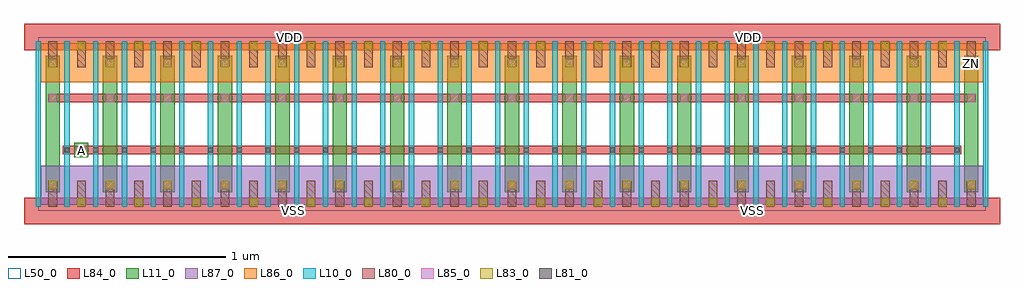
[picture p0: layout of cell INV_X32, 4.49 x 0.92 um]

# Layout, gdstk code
import gdstk
lib = gdstk.Library(unit=1e-6, precision=1e-09)
def R(c, l, rs):  # rectangles x0, y0, x1, y1
    for r in rs: c.add(gdstk.rectangle(r[:2], r[2:], *l))
def A(c, l, x, y, w, h, nx, ny, dx, dy):  # array of equal rectangles
    R(c, l, [(x+i*dx, y+j*dy, x+i*dx+w, y+j*dy+h) for i in range(nx) for j in range(ny)])
L10_0 = (10, 0)
L11_0 = (11, 0)
L50_0 = (50, 0)
L80_0 = (80, 0)
L81_0 = (81, 0)
L83_0 = (83, 0)
L84_0 = (84, 0)
L85_0 = (85, 0)
L86_0 = (86, 0)
L87_0 = (87, 0)

inv_x32 = lib.new_cell('INV_X32')
A(inv_x32, L10_0, -0.184, 0.133, 0.024, 0.76, 5, 1, 0.132, 0)
A(inv_x32, L10_0, 0.476, 0.133, 0.024, 0.76, 4, 1, 0.132, 0)
A(inv_x32, L10_0, 1.004, 0.133, 0.024, 0.76, 4, 1, 0.132, 0)
A(inv_x32, L10_0, 1.532, 0.133, 0.024, 0.76, 4, 1, 0.132, 0)
A(inv_x32, L10_0, 2.06, 0.133, 0.024, 0.76, 4, 1, 0.132, 0)
A(inv_x32, L10_0, 2.588, 0.133, 0.024, 0.76, 4, 1, 0.132, 0)
A(inv_x32, L10_0, 3.116, 0.133, 0.024, 0.76, 4, 1, 0.132, 0)
A(inv_x32, L10_0, 3.644, 0.133, 0.024, 0.76, 5, 1, 0.132, 0)
R(inv_x32, L10_0, [(0.344,0.133,0.368,0.893), (0.476,0.133,0.5,0.893), (0.872,0.133,0.896,0.893), (1.004,0.133,1.028,0.893), (1.4,0.133,1.424,0.893), (1.532,0.133,1.556,0.893), (1.928,0.133,1.952,0.893), (2.06,0.133,2.084,0.893), (2.456,0.133,2.48,0.893), (2.588,0.133,2.612,0.893), (2.984,0.133,3.008,0.893), (3.116,0.133,3.14,0.893), (3.512,0.133,3.536,0.893), (3.644,0.133,3.668,0.893)])
A(inv_x32, L11_0, -0.139, 0.2, 0.066, 0.626, 3, 1, 0.264, 0)
A(inv_x32, L11_0, 0.389, 0.2, 0.066, 0.626, 3, 1, 0.264, 0)
A(inv_x32, L11_0, 0.917, 0.2, 0.066, 0.626, 3, 1, 0.264, 0)
A(inv_x32, L11_0, 1.445, 0.2, 0.066, 0.626, 3, 1, 0.264, 0)
A(inv_x32, L11_0, 1.973, 0.2, 0.066, 0.626, 3, 1, 0.264, 0)
A(inv_x32, L11_0, 2.501, 0.2, 0.066, 0.626, 3, 1, 0.264, 0)
A(inv_x32, L11_0, 3.029, 0.2, 0.066, 0.626, 3, 1, 0.264, 0)
A(inv_x32, L11_0, 3.557, 0.2, 0.066, 0.626, 3, 1, 0.264, 0)
R(inv_x32, L11_0, [(-0.008,0.36,0.058,0.426)])
R(inv_x32, L50_0, [(-0.172,0.113,2.072,0.913), (1.94,0.113,4.184,0.913)])
A(inv_x32, L80_0, -0.126, 0.133, 0.04, 0.12, 5, 2, 0.132, 0.64)
A(inv_x32, L80_0, 0.402, 0.133, 0.04, 0.12, 5, 2, 0.132, 0.64)
A(inv_x32, L80_0, 0.93, 0.133, 0.04, 0.12, 5, 2, 0.132, 0.64)
A(inv_x32, L80_0, 1.458, 0.133, 0.04, 0.12, 5, 2, 0.132, 0.64)
A(inv_x32, L80_0, 1.986, 0.133, 0.04, 0.12, 5, 2, 0.132, 0.64)
A(inv_x32, L80_0, 2.514, 0.133, 0.04, 0.12, 5, 2, 0.132, 0.64)
A(inv_x32, L80_0, 3.042, 0.133, 0.04, 0.12, 5, 2, 0.132, 0.64)
A(inv_x32, L80_0, 3.57, 0.133, 0.04, 0.12, 5, 2, 0.132, 0.64)
A(inv_x32, L81_0, -0.051, 0.382, 0.022, 0.022, 32, 1, 0.132, 0)
A(inv_x32, L83_0, 0.008, 0.135, 0.036, 0.036, 16, 2, 0.264, 0.72)
A(inv_x32, L83_0, -0.124, 0.215, 0.036, 0.036, 3, 2, 0.264, 0.56)
A(inv_x32, L83_0, 0.404, 0.215, 0.036, 0.036, 3, 2, 0.264, 0.56)
A(inv_x32, L83_0, 0.932, 0.215, 0.036, 0.036, 3, 2, 0.264, 0.56)
A(inv_x32, L83_0, 1.46, 0.215, 0.036, 0.036, 3, 2, 0.264, 0.56)
A(inv_x32, L83_0, 1.988, 0.215, 0.036, 0.036, 3, 2, 0.264, 0.56)
A(inv_x32, L83_0, 2.516, 0.215, 0.036, 0.036, 3, 2, 0.264, 0.56)
A(inv_x32, L83_0, 3.044, 0.215, 0.036, 0.036, 3, 2, 0.264, 0.56)
A(inv_x32, L83_0, 3.572, 0.215, 0.036, 0.036, 3, 2, 0.264, 0.56)
A(inv_x32, L84_0, -0.238, 0.053, 0.792, 0.12, 8, 2, 0.528, 0.8)
A(inv_x32, L84_0, -0.126, 0.213, 0.04, 0.04, 3, 2, 0.264, 0.56)
A(inv_x32, L84_0, 0.402, 0.213, 0.04, 0.04, 3, 2, 0.264, 0.56)
A(inv_x32, L84_0, 0.93, 0.213, 0.04, 0.04, 3, 2, 0.264, 0.56)
A(inv_x32, L84_0, 1.458, 0.213, 0.04, 0.04, 3, 2, 0.264, 0.56)
A(inv_x32, L84_0, 1.986, 0.213, 0.04, 0.04, 3, 2, 0.264, 0.56)
A(inv_x32, L84_0, 2.514, 0.213, 0.04, 0.04, 3, 2, 0.264, 0.56)
A(inv_x32, L84_0, 3.042, 0.213, 0.04, 0.04, 3, 2, 0.264, 0.56)
A(inv_x32, L84_0, 3.57, 0.213, 0.04, 0.04, 3, 2, 0.264, 0.56)
A(inv_x32, L84_0, -0.06, 0.373, 0.37, 0.04, 4, 1, 1.056, 0)
A(inv_x32, L84_0, -0.126, 0.613, 0.568, 0.04, 8, 1, 0.528, 0)
R(inv_x32, L84_0, [(0.239,0.373,1.028,0.413), (1.295,0.373,2.237,0.413), (2.351,0.373,3.14,0.413), (3.407,0.373,4.072,0.413)])
A(inv_x32, L85_0, -0.125, 0.214, 0.038, 0.038, 3, 2, 0.264, 0.4)
A(inv_x32, L85_0, 0.403, 0.214, 0.038, 0.038, 3, 2, 0.264, 0.4)
A(inv_x32, L85_0, 0.931, 0.214, 0.038, 0.038, 3, 2, 0.264, 0.4)
A(inv_x32, L85_0, 1.459, 0.214, 0.038, 0.038, 3, 2, 0.264, 0.4)
A(inv_x32, L85_0, 1.987, 0.214, 0.038, 0.038, 3, 2, 0.264, 0.4)
A(inv_x32, L85_0, 2.515, 0.214, 0.038, 0.038, 3, 2, 0.264, 0.4)
A(inv_x32, L85_0, 3.043, 0.214, 0.038, 0.038, 3, 2, 0.264, 0.4)
A(inv_x32, L85_0, 3.571, 0.214, 0.038, 0.038, 3, 2, 0.264, 0.4)
A(inv_x32, L85_0, -0.125, 0.774, 0.038, 0.038, 3, 1, 0.264, 0)
A(inv_x32, L85_0, 0.403, 0.774, 0.038, 0.038, 3, 1, 0.264, 0)
A(inv_x32, L85_0, 0.931, 0.774, 0.038, 0.038, 3, 1, 0.264, 0)
A(inv_x32, L85_0, 1.459, 0.774, 0.038, 0.038, 3, 1, 0.264, 0)
A(inv_x32, L85_0, 1.987, 0.774, 0.038, 0.038, 3, 1, 0.264, 0)
A(inv_x32, L85_0, 2.515, 0.774, 0.038, 0.038, 3, 1, 0.264, 0)
A(inv_x32, L85_0, 3.043, 0.774, 0.038, 0.038, 3, 1, 0.264, 0)
A(inv_x32, L85_0, 3.571, 0.774, 0.038, 0.038, 3, 1, 0.264, 0)
R(inv_x32, L85_0, [(0.006,0.374,0.044,0.412)])
A(inv_x32, L86_0, -0.16, 0.705, 0.636, 0.18, 8, 1, 0.528, 0)
A(inv_x32, L87_0, -0.16, 0.141, 0.636, 0.18, 8, 1, 0.528, 0)
inv_x32.add(gdstk.Label('VSS', (3.111,0.113), layer=88, texttype=0))
inv_x32.add(gdstk.Label('VDD', (3.095,0.913), layer=88, texttype=0))
inv_x32.add(gdstk.Label('VDD', (0.983,0.913), layer=88, texttype=0))
inv_x32.add(gdstk.Label('VSS', (0.999,0.113), layer=88, texttype=0))
inv_x32.add(gdstk.Label('ZN', (4.118,0.793), layer=31, texttype=0))
inv_x32.add(gdstk.Label('A', (0.025,0.393), layer=31, texttype=0))

lib.write_gds('INV_X32.gds')
